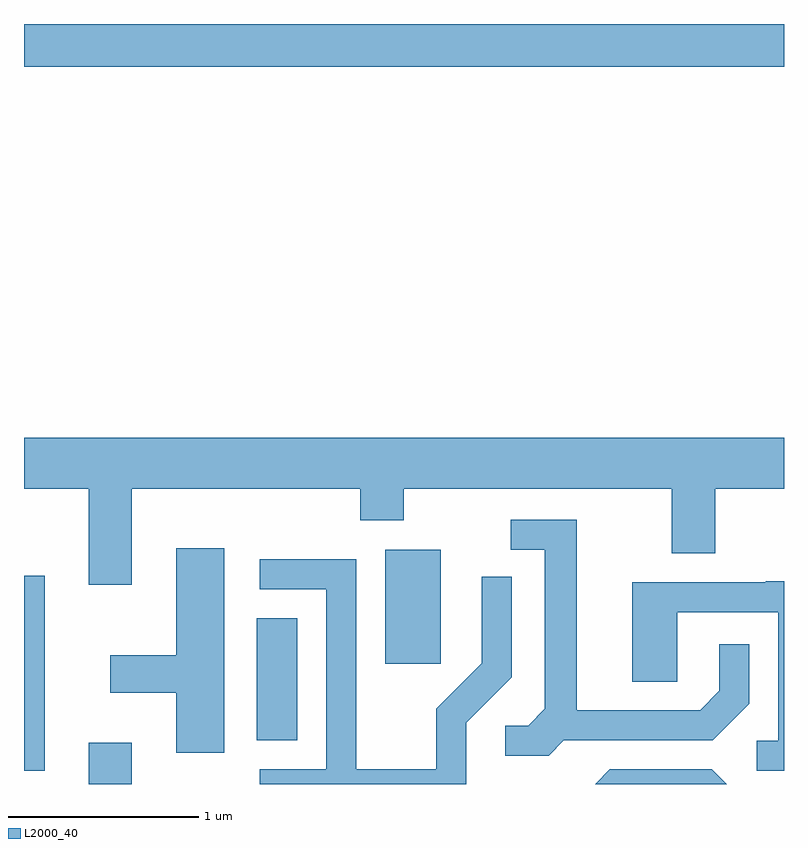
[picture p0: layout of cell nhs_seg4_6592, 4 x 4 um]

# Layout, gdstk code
import gdstk
lib = gdstk.Library(unit=1e-6, precision=1e-09)
def R(c, l, rs):  # rectangles x0, y0, x1, y1
    for r in rs: c.add(gdstk.rectangle(r[:2], r[2:], *l))
def P(c, l, *ps):  # polygons
    for p in ps: c.add(gdstk.Polygon(p, *l))
L2000_40 = (2000, 40)

nhs_seg4_6592 = lib.new_cell('nhs_seg4_6592')
R(nhs_seg4_6592, L2000_40, [(377.951,1381.982,378.179,1382.199), (377.611,1382.051,377.719,1383.079), (378.836,1382.211,379.049,1382.854), (379.511,1382.616,379.804,1383.214), (377.611,1385.756,381.611,1385.982)])
P(nhs_seg4_6592, L2000_40, [(378.179,1383.536),(379.381,1383.536),(379.381,1383.371),(379.609,1383.371),(379.609,1383.536),(381.021,1383.536),(381.021,1383.196),(381.249,1383.196),(381.249,1383.536),(381.611,1383.536),(381.611,1383.804),(377.611,1383.804),(377.611,1383.536),(377.951,1383.536),(377.951,1383.031),(378.179,1383.031)],
  [(380.452,1382.211),(381.237,1382.211),(381.429,1382.404),(381.429,1382.718),(381.271,1382.718),(381.271,1382.472),(381.169,1382.369),(380.519,1382.369),(380.519,1383.374),(380.173,1383.374),(380.173,1383.216),(380.351,1383.216),(380.351,1382.377),(380.264,1382.289),(380.143,1382.289),(380.143,1382.131),(380.372,1382.131)],
  [(378.664,1383.224),(378.411,1383.224),(378.411,1382.659),(378.066,1382.659),(378.066,1382.461),(378.411,1382.461),(378.411,1382.146),(378.664,1382.146)],
  [(379.939,1382.304),(380.179,1382.544),(380.179,1383.073),(380.021,1383.073),(380.021,1382.617),(379.781,1382.377),(379.781,1382.059),(379.359,1382.059),(379.359,1383.164),(378.853,1383.164),(378.853,1383.006),(379.201,1383.006),(379.201,1382.059),(378.853,1382.059),(378.853,1381.982),(379.939,1381.982)],
  [(381.611,1383.049),(381.515,1383.049),(381.515,1383.044),(380.811,1383.044),(380.811,1382.521),(381.049,1382.521),(381.049,1382.886),(381.581,1382.886),(381.581,1382.209),(381.468,1382.209),(381.468,1382.051),(381.611,1382.051)],
  [(381.232,1382.059),(380.694,1382.059),(380.617,1381.982),(381.309,1381.982)])

lib.write_gds('nhs_seg4_6592.gds')
